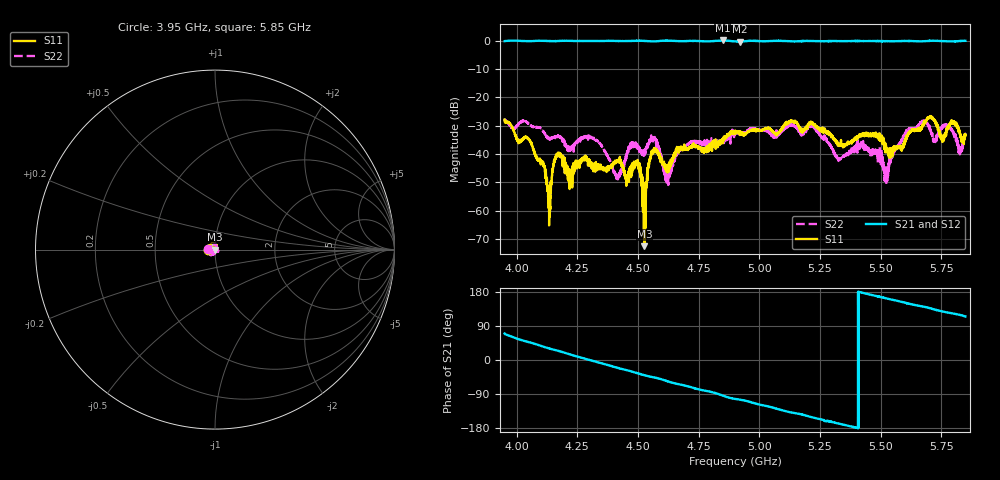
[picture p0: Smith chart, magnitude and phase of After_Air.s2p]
# GHZ S RI R 50.000000000000
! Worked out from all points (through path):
!   4501 points, 3.95 GHz to 5.85 GHz, reference 50 ohm
!   highest |S21| = 0.05 dB at 4.85 GHz (marker M1); lowest = -0.3 dB at 4.919 GHz (marker M2)
!   group delay of S21, straight-line fit = 451 ps
!   lowest |S11| = -72.5 dB at 4.527 GHz (marker M3), VSWR 1.00, Z = 50 + j0.00558 ohm
!   |S11| at or under -10 dB: start of sweep to end of sweep
!   |S22| runs from -50.9 to -27.7 dB; largest |S21 - S12| = 0.047
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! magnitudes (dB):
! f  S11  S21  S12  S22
! 3.95 GHz  -27.9  -0.2  -0.2  -27.7
! 4.054 GHz  -35.1  -0.2  -0.2  -29.7
! 4.133 GHz  -55.9  -0.1  -0.2  -34.3
! 4.167 GHz  -40.6  -0.2  -0.2  -33.7
! 4.219 GHz  -47.0  -0.1  -0.1  -38.8
! 4.267 GHz  -42.5  -0.1  -0.1  -34.7
! 4.415 GHz  -42.7  -0.1  -0.2  -48.6
! 4.498 GHz  -43.7  -0.1  0.0  -37.5
! 4.527 GHz  -72.5  -0.1  -0.1  -40.3
! 4.551 GHz  -41.9  -0.2  -0.2  -35.6
! 4.584 GHz  -40.0  -0.2  -0.2  -37.5
! 4.622 GHz  -44.9  0.0  0.0  -47.3
! 4.715 GHz  -37.4  -0.1  -0.1  -36.1
! 4.85 GHz  -34.7  0.1  0.1  -35.7
! 4.9 GHz  -31.9  -0.3  -0.2  -32.4
! 4.919 GHz  -32.7  -0.3  -0.3  -32.6
! 5.217 GHz  -29.2  -0.1  -0.1  -30.4
! 5.326 GHz  -36.4  -0.2  -0.2  -42.1
! 5.426 GHz  -33.3  -0.2  -0.2  -36.5
! 5.534 GHz  -39.1  -0.2  -0.1  -46.0
! 5.673 GHz  -29.7  -0.2  -0.2  -28.7
! 5.85 GHz  -33.3  -0.1  0.0  -33.3
